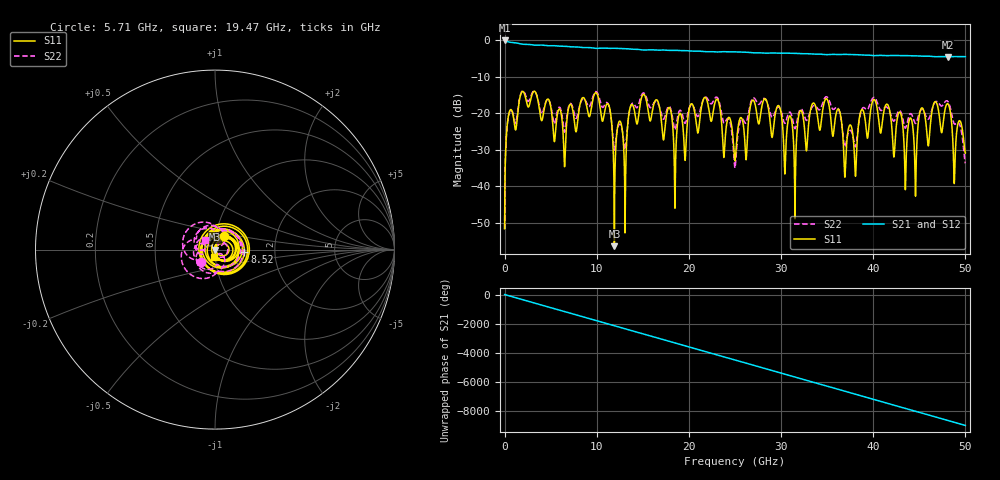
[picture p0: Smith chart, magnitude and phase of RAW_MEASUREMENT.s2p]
! Mesure brute ligne A + DUT + ligne B. ligne A : Zc=55.0 ohm, 300 ps, 1.0 dB@10GHz ; DUT : Zc=62.0 ohm, 80 ps, 0.4 dB@10GHz ; ligne B : Zc=48.0 ohm, 120 ps, 0.6 dB@10GHz
! Frequency(Hz) S11 S21 S12 S22 (Re Im)
# Hz S RI R 50
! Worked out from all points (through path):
!   5000 points, 10 MHz to 50 GHz, reference 50 ohm
!   highest |S21| = -0.06 dB at 10 MHz (marker M1); lowest = -4.6 dB at 48.06 GHz (marker M2)
!   group delay of S21, straight-line fit = 500 ps
!   lowest |S11| = -56.4 dB at 11.92 GHz (marker M3), VSWR 1.00, Z = 50.1 + j0.0297 ohm
!   |S11| at or under -10 dB: start of sweep to end of sweep
!   |S22| runs from -51.6 to -13.8 dB; largest |S21 - S12| = 0
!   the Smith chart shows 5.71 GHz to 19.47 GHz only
!   S11 on the Smith chart (normalised r, x): 5.71 GHz: 1.10, +0.17; 8.52 GHz: 1.39, -0.04; 19.47 GHz: 0.99, -0.08
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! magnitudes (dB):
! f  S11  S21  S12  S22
! 10 MHz  -51.6  -0.1  -0.1  -51.6
! 450 MHz  -20.4  -0.5  -0.5  -20.5
! 1.88 GHz  -14.1  -1.1  -1.1  -14.0
! 5.71 GHz  -20.7  -1.6  -1.6  -19.6
! 8.35 GHz  -16.2  -2.0  -2.0  -16.5
! 8.52 GHz  -15.7  -2.0  -2.0  -16.0
! 11.27 GHz  -17.6  -2.2  -2.2  -17.6
! 11.92 GHz  -56.4  -2.2  -2.2  -30.1
! 16.68 GHz  -17.0  -2.7  -2.7  -17.4
! 19.47 GHz  -27.9  -2.8  -2.8  -22.1
! 21.76 GHz  -15.6  -3.1  -3.1  -15.6
! 25.01 GHz  -33.0  -3.2  -3.2  -34.9
! 26.97 GHz  -16.4  -3.5  -3.5  -15.8
! 31.5 GHz  -46.2  -3.6  -3.6  -24.2
! 33.34 GHz  -17.7  -3.8  -3.8  -18.4
! 36.27 GHz  -19.0  -3.9  -3.9  -19.0
! 36.95 GHz  -36.8  -3.9  -3.9  -29.2
! 41.67 GHz  -18.1  -4.2  -4.2  -18.9
! 44.57 GHz  -41.2  -4.3  -4.3  -22.8
! 45.22 GHz  -18.6  -4.4  -4.4  -19.0
! 48.06 GHz  -17.4  -4.6  -4.6  -16.7
! 50 GHz  -30.9  -4.5  -4.5  -33.7
